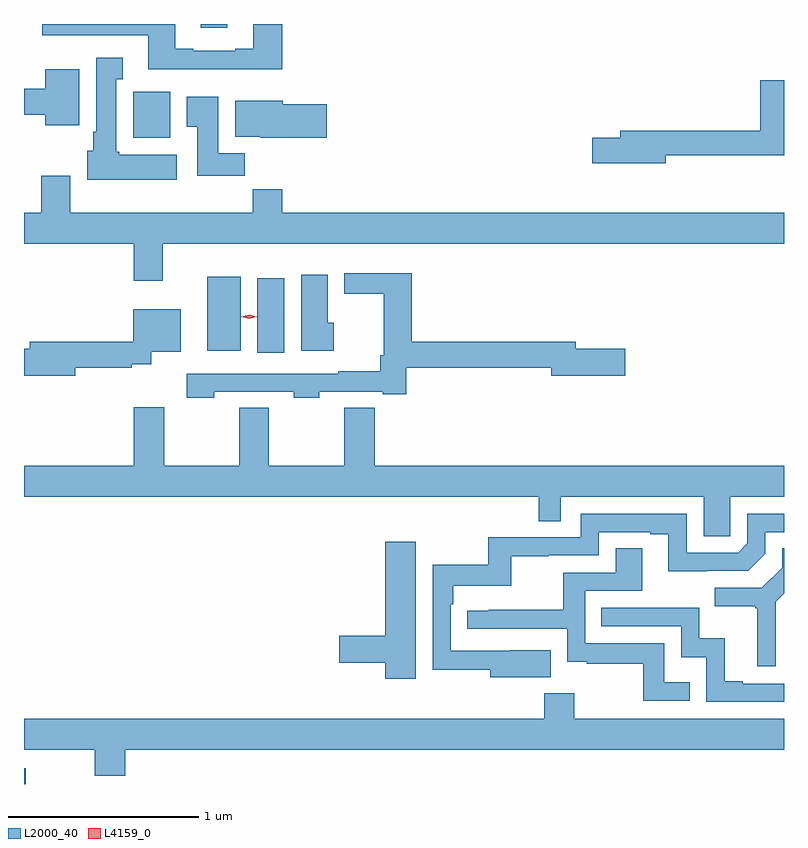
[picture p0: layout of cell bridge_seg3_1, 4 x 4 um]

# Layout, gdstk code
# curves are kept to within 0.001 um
import gdstk
lib = gdstk.Library(unit=1e-6, precision=1e-09)
def R(c, l, rs):  # rectangles x0, y0, x1, y1
    for r in rs: c.add(gdstk.rectangle(r[:2], r[2:], *l))
def P(c, l, *ps):  # polygons
    for p in ps: c.add(gdstk.Polygon(p, *l))
L2000_40 = (2000, 40)
L4159_0 = (4159, 0)

bridge_seg3_1 = lib.new_cell('bridge_seg3_1')
R(bridge_seg3_1, L2000_40, [(1018.378,731.373,1018.387,731.457), (1019.606,733.644,1019.749,734.035), (1019.342,733.652,1019.518,734.044), (1018.952,734.774,1019.149,735.016), (1019.309,735.354,1019.449,735.373)])
P(bridge_seg3_1, L2000_40, [(1019.738,735.373),(1019.585,735.373),(1019.585,735.244),(1019.489,735.244),(1019.489,735.231),(1019.269,735.231),(1019.269,735.244),(1019.173,735.244),(1019.173,735.373),(1018.473,735.373),(1018.473,735.315),(1019.033,735.315),(1019.033,735.134),(1019.738,735.134)],
  [(1019.182,734.686),(1018.878,734.686),(1018.878,734.7),(1018.864,734.7),(1018.864,735.083),(1018.897,735.083),(1018.897,735.196),(1018.757,735.196),(1018.757,734.806),(1018.742,734.806),(1018.742,734.706),(1018.712,734.706),(1018.712,734.552),(1019.182,734.552)],
  [(1018.669,735.136),(1018.49,735.136),(1018.49,735.032),(1018.378,735.032),(1018.378,734.896),(1018.49,734.896),(1018.49,734.84),(1018.669,734.84)],
  [(1021.756,734.682),(1022.378,734.682),(1022.378,735.076),(1022.252,735.076),(1022.252,734.81),(1021.517,734.81),(1021.517,734.774),(1021.368,734.774),(1021.368,734.639),(1021.756,734.639)],
  [(1019.54,734.692),(1019.401,734.692),(1019.401,734.989),(1019.234,734.989),(1019.234,734.833),(1019.291,734.833),(1019.291,734.574),(1019.54,734.574)],
  [(1019.971,734.951),(1019.74,734.951),(1019.74,734.968),(1019.489,734.968),(1019.489,734.78),(1019.622,734.78),(1019.622,734.774),(1019.971,734.774)],
  [(1019.107,734.216),(1022.378,734.216),(1022.378,734.38),(1019.738,734.38),(1019.738,734.504),(1019.581,734.504),(1019.581,734.38),(1018.621,734.38),(1018.621,734.575),(1018.469,734.575),(1018.469,734.38),(1018.378,734.38),(1018.378,734.216),(1018.955,734.216),(1018.955,734.022),(1019.107,734.022)],
  [(1019.379,733.437),(1019.799,733.437),(1019.799,733.405),(1019.931,733.405),(1019.931,733.437),(1020.266,733.437),(1020.266,733.425),(1020.389,733.425),(1020.389,733.564),(1021.154,733.564),(1021.154,733.522),(1021.543,733.522),(1021.543,733.664),(1021.282,733.664),(1021.282,733.7),(1020.419,733.7),(1020.419,734.062),(1020.063,734.062),(1020.063,733.953),(1020.272,733.953),(1020.272,733.63),(1020.253,733.63),(1020.253,733.546),(1020.031,733.546),(1020.031,733.533),(1019.235,733.533),(1019.235,733.405),(1019.379,733.405)],
  [(1020.007,733.8),(1019.977,733.8),(1019.977,734.053),(1019.837,734.053),(1019.837,733.652),(1020.007,733.652)],
  [(1018.648,733.564),(1018.946,733.564),(1018.946,733.582),(1019.049,733.582),(1019.049,733.649),(1019.203,733.649),(1019.203,733.873),(1018.953,733.873),(1018.953,733.7),(1018.409,733.7),(1018.409,733.664),(1018.378,733.664),(1018.378,733.522),(1018.648,733.522)],
  [(1022.094,732.884),(1022.378,732.884),(1022.378,733.048),(1020.224,733.048),(1020.224,733.352),(1020.064,733.352),(1020.064,733.048),(1019.666,733.048),(1019.666,733.352),(1019.512,733.352),(1019.512,733.048),(1019.115,733.048),(1019.115,733.357),(1018.955,733.357),(1018.955,733.048),(1018.378,733.048),(1018.378,732.884),(1021.087,732.884),(1021.087,732.757),(1021.203,732.757),(1021.203,732.884),(1021.955,732.884),(1021.955,732.676),(1022.094,732.676)],
  [(1021.151,732.076),(1020.624,732.075),(1020.624,732.32),(1020.638,732.32),(1020.638,732.416),(1020.943,732.416),(1020.943,732.571),(1021.139,732.571),(1021.139,732.576),(1021.404,732.576),(1021.404,732.699),(1021.673,732.699),(1021.673,732.687),(1021.769,732.687),(1021.769,732.494),(1022.19,732.495),(1022.28,732.585),(1022.28,732.699),(1022.378,732.699),(1022.378,732.795),(1022.184,732.795),(1022.184,732.639),(1022.136,732.591),(1021.866,732.591),(1021.866,732.795),(1021.308,732.795),(1021.308,732.672),(1020.822,732.672),(1020.822,732.526),(1020.528,732.526),(1020.528,731.974),(1020.833,731.974),(1020.833,731.936),(1021.151,731.936)],
  [(1020.439,732.649),(1020.278,732.649),(1020.278,732.152),(1020.036,732.152),(1020.036,732.01),(1020.278,732.01),(1020.278,731.928),(1020.439,731.928)],
  [(1022.334,732.333),(1022.378,732.377),(1022.378,732.614),(1022.369,732.614),(1022.369,732.512),(1022.262,732.405),(1022.013,732.405),(1022.013,732.308),(1022.226,732.308),(1022.226,732.297),(1022.237,732.297),(1022.237,731.994),(1022.334,731.994)],
  [(1021.883,731.908),(1021.749,731.908),(1021.749,732.114),(1021.332,732.114),(1021.332,732.39),(1021.633,732.39),(1021.633,732.614),(1021.493,732.614),(1021.493,732.486),(1021.216,732.486),(1021.216,732.29),(1020.823,732.29),(1020.823,732.285),(1020.711,732.285),(1020.711,732.189),(1021.236,732.189),(1021.236,732.017),(1021.339,732.017),(1021.339,732.006),(1021.638,732.006),(1021.638,731.811),(1021.883,731.811)],
  [(1022.378,731.901),(1022.161,731.901),(1022.161,731.914),(1022.065,731.914),(1022.065,732.139),(1021.932,732.139),(1021.932,732.3),(1021.417,732.3),(1021.417,732.204),(1021.836,732.204),(1021.836,732.041),(1021.968,732.041),(1021.968,731.805),(1022.378,731.805)],
  [(1018.91,731.552),(1022.378,731.552),(1022.378,731.716),(1021.275,731.716),(1021.275,731.851),(1021.115,731.851),(1021.115,731.716),(1018.378,731.716),(1018.378,731.552),(1018.75,731.552),(1018.75,731.417),(1018.91,731.417)])
P(bridge_seg3_1, L4159_0, [(1019.563,733.823),(1019.522,733.833),(1019.522,733.833),(1019.522,733.833),(1019.563,733.843),(1019.603,733.833),(1019.603,733.833),(1019.603,733.833)])

lib.write_gds('bridge_seg3_1.gds')
